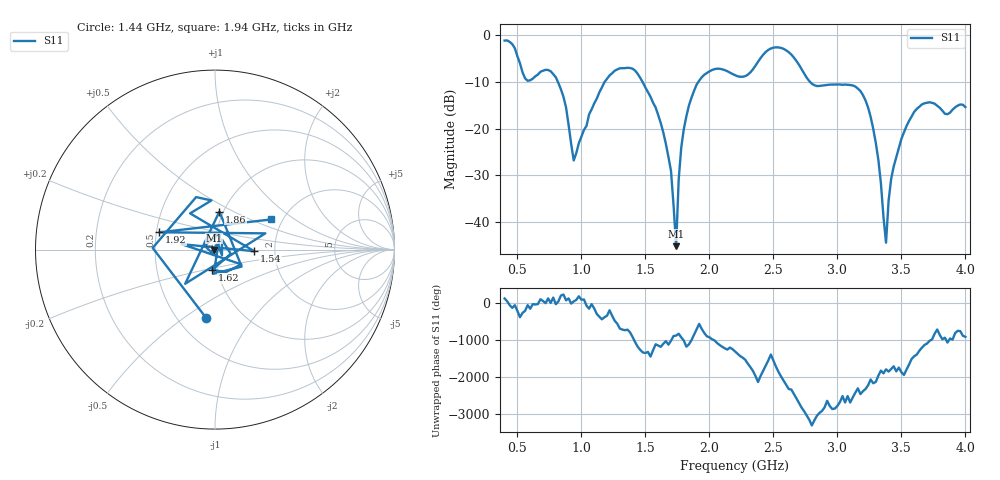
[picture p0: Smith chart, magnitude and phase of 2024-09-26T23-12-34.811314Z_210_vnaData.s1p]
!Created with skrf (http://scikit-rf.org).
# Hz S RI R 50.0
!freq ReS11 ImS11
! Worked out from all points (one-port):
!   181 points, 400 MHz to 4 GHz, reference 50 ohm
!   lowest |S11| = -45.1 dB at 1.74 GHz (marker M1), VSWR 1.01, Z = 49.5 - j0.248 ohm
!   |S11| at or under -10 dB: 815.8 MHz to 1.182 GHz (366.4 MHz wide, 36.7 % of centre); 1.477 GHz to 1.915 GHz (437.6 MHz wide, 25.8 % of centre); 2.786 GHz to end of sweep
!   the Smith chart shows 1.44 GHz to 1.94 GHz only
!   S11 on the Smith chart (normalised r, x): 1.44 GHz: 0.68, -0.61; 1.54 GHz: 1.56, -0.03; 1.62 GHz: 0.95, -0.22; 1.86 GHz: 0.96, +0.43; 1.92 GHz: 0.52, +0.11; 1.94 GHz: 1.74, +0.67
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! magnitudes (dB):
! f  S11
! 400 MHz  -1.2
! 560 MHz  -9.3
! 740 MHz  -7.5
! 860 MHz  -13.2
! 940 MHz  -26.8
! 1.14 GHz  -12.3
! 1.3 GHz  -7.1
! 1.44 GHz  -8.3
! 1.54 GHz  -13.2
! 1.62 GHz  -18.8
! 1.7 GHz  -29.1
! 1.74 GHz  -45.1
! 1.76 GHz  -30.9
! 1.8 GHz  -20.1
! 1.86 GHz  -13.4
! 1.92 GHz  -9.8
! 1.94 GHz  -9.0
! 2.2 GHz  -8.6
! 2.5 GHz  -2.7
! 2.66 GHz  -4.8
! 2.82 GHz  -10.7
! 3.1 GHz  -10.7
! 3.26 GHz  -17.5
! 3.32 GHz  -26.7
! 3.38 GHz  -44.4
! 3.42 GHz  -30.7
! 3.56 GHz  -18.3
! 4 GHz  -15.4
